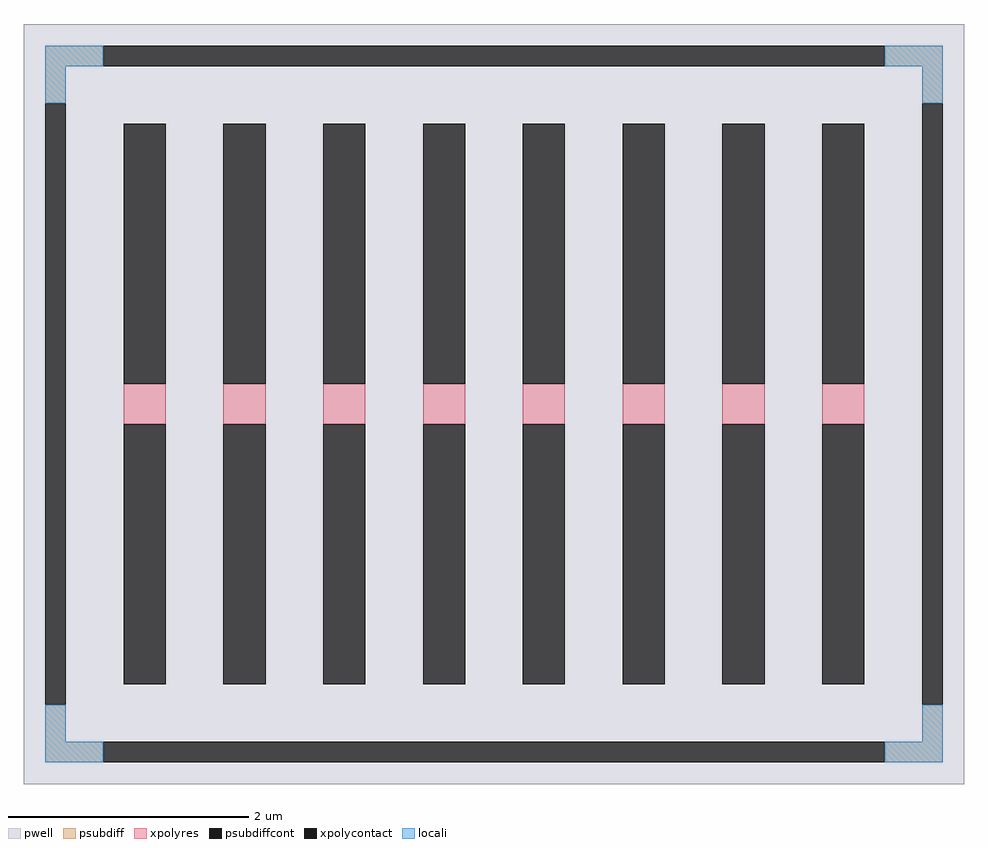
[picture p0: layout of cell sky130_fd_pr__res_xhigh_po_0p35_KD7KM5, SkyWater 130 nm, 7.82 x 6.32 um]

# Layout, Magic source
magic
tech sky130A
<< pwell >>
rect -391 -316 391 316
<< psubdiff >>
rect -373 281 -325 298
rect 325 281 373 298
rect -373 250 -356 281
rect 356 250 373 281
rect -373 -281 -356 -250
rect 356 -281 373 -250
rect -373 -298 -325 -281
rect 325 -298 373 -281
<< psubdiffcont >>
rect -325 281 325 298
rect -373 -250 -356 250
rect 356 -250 373 250
rect -325 -298 325 -281
<< xpolycontact >>
rect -308 17 -273 233
rect -308 -233 -273 -17
rect -225 17 -190 233
rect -225 -233 -190 -17
rect -142 17 -107 233
rect -142 -233 -107 -17
rect -59 17 -24 233
rect -59 -233 -24 -17
rect 24 17 59 233
rect 24 -233 59 -17
rect 107 17 142 233
rect 107 -233 142 -17
rect 190 17 225 233
rect 190 -233 225 -17
rect 273 17 308 233
rect 273 -233 308 -17
<< xpolyres >>
rect -308 -17 -273 17
rect -225 -17 -190 17
rect -142 -17 -107 17
rect -59 -17 -24 17
rect 24 -17 59 17
rect 107 -17 142 17
rect 190 -17 225 17
rect 273 -17 308 17
<< locali >>
rect -373 281 -325 298
rect 325 281 373 298
rect -373 250 -356 281
rect 356 250 373 281
rect -373 -281 -356 -250
rect 356 -281 373 -250
rect -373 -298 -325 -281
rect 325 -298 373 -281
<< properties >>
string FIXED_BBOX -364 -289 364 289
string gencell sky130_fd_pr__res_xhigh_po_0p35
string library sky130
string parameters w 0.350 l 0.50 m 1 nx 8 wmin 0.350 lmin 0.50 rho 2000 val 3.932k dummy 0 dw 0.0 term 188.2 sterm 0.0 caplen 0 wmax 0.350 guard 1 glc 1 grc 1 gtc 1 gbc 1 compatible {sky130_fd_pr__res_xhigh_po_0p35  sky130_fd_pr__res_xhigh_po_0p69 sky130_fd_pr__res_xhigh_po_1p41  sky130_fd_pr__res_xhigh_po_2p85 sky130_fd_pr__res_xhigh_po_5p73} snake 0 full_metal 1 n_guard 0 hv_guard 0 vias 0 viagb 0 viagt 0 viagl 0 viagr 0
<< end >>
